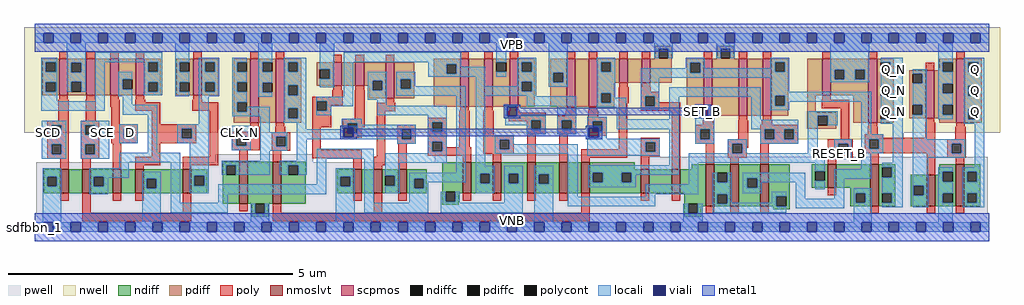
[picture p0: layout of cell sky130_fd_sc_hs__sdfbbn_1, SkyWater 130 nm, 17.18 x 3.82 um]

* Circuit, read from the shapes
.subckt sky130_fd_sc_hs__sdfbbn_1 CLK_N D RESET_B SCD SCE SET_B VGND VNB VPB VPWR Q Q_N
XM1 n1 SCD VGND VNB sky130_fd_pr__nfet_01v8_lvt w=0.42 l=0.15
XM2 n2 SCE n1 VNB sky130_fd_pr__nfet_01v8_lvt w=0.42 l=0.15
XM3 n3 D n2 VNB sky130_fd_pr__nfet_01v8_lvt w=0.42 l=0.15
XM4 VGND n4 n3 VNB sky130_fd_pr__nfet_01v8_lvt w=0.42 l=0.15
XM5 n4 SCE VGND VNB sky130_fd_pr__nfet_01v8_lvt w=0.42 l=0.15
XM6 VGND CLK_N n5 VNB sky130_fd_pr__nfet_01v8_lvt w=0.74 l=0.15
XM7 n6 n5 VGND VNB sky130_fd_pr__nfet_01v8_lvt w=0.74 l=0.15
XM8 n7 n8 VGND VNB sky130_fd_pr__nfet_01v8_lvt w=0.42 l=0.15
XM9 n9 n5 n7 VNB sky130_fd_pr__nfet_01v8_lvt w=0.42 l=0.15
XM10 n2 n6 n9 VNB sky130_fd_pr__nfet_01v8_lvt w=0.42 l=0.15
XM11 n8 n9 n10 VNB sky130_fd_pr__nfet_01v8_lvt w=0.55 l=0.15
XM12 n10 n11 n8 VNB sky130_fd_pr__nfet_01v8_lvt w=0.55 l=0.15
XM13 VGND SET_B n10 VNB sky130_fd_pr__nfet_01v8_lvt w=0.55 l=0.15
XM14 n12 n8 VGND VNB sky130_fd_pr__nfet_01v8_lvt w=0.55 l=0.15
XM15 n13 n5 n12 VNB sky130_fd_pr__nfet_01v8_lvt w=0.55 l=0.15
XM16 n14 n6 n13 VNB sky130_fd_pr__nfet_01v8_lvt w=0.42 l=0.15
XM17 VGND n15 n14 VNB sky130_fd_pr__nfet_01v8_lvt w=0.42 l=0.15
XM18 n16 SET_B VGND VNB sky130_fd_pr__nfet_01v8_lvt w=0.74 l=0.15
XM19 n15 n11 n16 VNB sky130_fd_pr__nfet_01v8_lvt w=0.74 l=0.15
XM20 n16 n13 n15 VNB sky130_fd_pr__nfet_01v8_lvt w=0.74 l=0.15
XM21 VGND RESET_B n11 VNB sky130_fd_pr__nfet_01v8_lvt w=0.42 l=0.15
XM22 Q_N n15 VGND VNB sky130_fd_pr__nfet_01v8_lvt w=0.74 l=0.15
XM23 VGND n15 n17 VNB sky130_fd_pr__nfet_01v8_lvt w=0.55 l=0.15
XM24 Q n17 VGND VNB sky130_fd_pr__nfet_01v8_lvt w=0.74 l=0.15
XM25 VPWR SCD n18 VPB sky130_fd_pr__pfet_01v8 w=0.64 l=0.15
XM26 n19 SCE VPWR VPB sky130_fd_pr__pfet_01v8 w=0.64 l=0.15
XM27 n2 D n19 VPB sky130_fd_pr__pfet_01v8 w=0.64 l=0.15
XM28 n18 n4 n2 VPB sky130_fd_pr__pfet_01v8 w=0.64 l=0.15
XM29 n4 SCE VPWR VPB sky130_fd_pr__pfet_01v8 w=0.64 l=0.15
XM30 VPWR CLK_N n5 VPB sky130_fd_pr__pfet_01v8 w=1.12 l=0.15
XM31 n6 n5 VPWR VPB sky130_fd_pr__pfet_01v8 w=1.12 l=0.15
XM32 n20 n8 VPWR VPB sky130_fd_pr__pfet_01v8 w=0.42 l=0.15
XM33 n9 n6 n20 VPB sky130_fd_pr__pfet_01v8 w=0.42 l=0.15
XM34 n2 n5 n9 VPB sky130_fd_pr__pfet_01v8 w=0.64 l=0.15
XM35 n21 n9 n8 VPB sky130_fd_pr__pfet_01v8 w=0.84 l=0.15
XM36 VPWR n11 n21 VPB sky130_fd_pr__pfet_01v8 w=0.84 l=0.15
XM37 n8 SET_B VPWR VPB sky130_fd_pr__pfet_01v8 w=0.84 l=0.15
XM38 n22 n8 VPWR VPB sky130_fd_pr__pfet_01v8 w=0.84 l=0.15
XM39 n13 n6 n22 VPB sky130_fd_pr__pfet_01v8 w=0.84 l=0.15
XM40 n23 n5 n13 VPB sky130_fd_pr__pfet_01v8 w=0.42 l=0.15
XM41 VPWR n15 n23 VPB sky130_fd_pr__pfet_01v8 w=0.42 l=0.15
XM42 VPWR SET_B n15 VPB sky130_fd_pr__pfet_01v8 w=1 l=0.15
XM43 n24 n11 VPWR VPB sky130_fd_pr__pfet_01v8 w=1 l=0.15
XM44 n15 n13 n24 VPB sky130_fd_pr__pfet_01v8 w=1 l=0.15
XM45 VPWR RESET_B n11 VPB sky130_fd_pr__pfet_01v8 w=0.64 l=0.15
XM46 Q_N n15 VPWR VPB sky130_fd_pr__pfet_01v8 w=1.12 l=0.15
XM47 VPWR n15 n17 VPB sky130_fd_pr__pfet_01v8 w=0.84 l=0.15
XM48 Q n17 VPWR VPB sky130_fd_pr__pfet_01v8 w=1.12 l=0.15
.ends

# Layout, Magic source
magic
tech sky130A
magscale 1 2
<< nwell >>
rect -38 332 3398 704
rect 2684 310 3060 332
<< pwell >>
rect 636 229 980 256
rect 1408 248 2138 255
rect 1408 229 3355 248
rect 6 49 3355 229
rect 0 0 3360 49
<< scpmos >>
rect 86 464 116 592
rect 182 464 212 592
rect 266 464 296 592
rect 356 464 386 592
rect 557 464 587 592
rect 759 368 789 592
rect 849 368 879 592
rect 1051 497 1081 581
rect 1129 497 1159 581
rect 1236 453 1266 581
rect 1498 424 1528 592
rect 1582 424 1612 592
rect 1672 424 1702 592
rect 1873 424 1903 592
rect 1951 424 1981 592
rect 2058 508 2088 592
rect 2136 508 2166 592
rect 2355 392 2385 592
rect 2479 392 2509 592
rect 2563 392 2593 592
rect 2773 464 2803 592
rect 2935 368 2965 592
rect 3137 384 3167 552
rect 3244 368 3274 592
<< nmoslvt >>
rect 89 119 119 203
rect 167 119 197 203
rect 275 119 305 203
rect 353 119 383 203
rect 521 119 551 203
rect 719 82 749 230
rect 837 82 867 230
rect 1121 119 1151 203
rect 1193 119 1223 203
rect 1279 119 1309 203
rect 1507 119 1537 229
rect 1613 119 1643 229
rect 1734 119 1764 229
rect 1846 119 1876 229
rect 1924 119 1954 229
rect 2134 119 2164 203
rect 2242 119 2272 203
rect 2362 74 2392 222
rect 2448 74 2478 222
rect 2554 74 2584 222
rect 2792 138 2822 222
rect 2942 74 2972 222
rect 3140 74 3170 184
rect 3242 74 3272 222
<< ndiff >>
rect 662 218 719 230
rect 32 178 89 203
rect 32 144 44 178
rect 78 144 89 178
rect 32 119 89 144
rect 119 119 167 203
rect 197 178 275 203
rect 197 144 208 178
rect 242 144 275 178
rect 197 119 275 144
rect 305 119 353 203
rect 383 171 521 203
rect 383 137 394 171
rect 428 137 521 171
rect 383 119 521 137
rect 551 180 608 203
rect 551 146 562 180
rect 596 146 608 180
rect 551 119 608 146
rect 662 184 674 218
rect 708 184 719 218
rect 662 82 719 184
rect 749 82 837 230
rect 867 218 954 230
rect 867 184 893 218
rect 927 184 954 218
rect 867 82 954 184
rect 1064 178 1121 203
rect 1064 144 1076 178
rect 1110 144 1121 178
rect 1064 119 1121 144
rect 1151 119 1193 203
rect 1223 180 1279 203
rect 1223 146 1234 180
rect 1268 146 1279 180
rect 1223 119 1279 146
rect 1309 170 1380 203
rect 1309 136 1335 170
rect 1369 136 1380 170
rect 1309 119 1380 136
rect 1434 124 1507 229
rect 764 48 776 82
rect 810 48 822 82
rect 764 36 822 48
rect 1434 90 1446 124
rect 1480 119 1507 124
rect 1537 188 1613 229
rect 1537 154 1568 188
rect 1602 154 1613 188
rect 1537 119 1613 154
rect 1643 188 1734 229
rect 1643 154 1668 188
rect 1702 154 1734 188
rect 1643 119 1734 154
rect 1764 186 1846 229
rect 1764 152 1775 186
rect 1809 152 1846 186
rect 1764 119 1846 152
rect 1876 119 1924 229
rect 1954 203 2112 229
rect 2312 203 2362 222
rect 1954 191 2134 203
rect 1954 157 1965 191
rect 1999 157 2066 191
rect 2100 157 2134 191
rect 1954 119 2134 157
rect 2164 119 2242 203
rect 2272 119 2362 203
rect 1480 90 1492 119
rect 1434 78 1492 90
rect 2287 82 2362 119
rect 2287 48 2300 82
rect 2334 74 2362 82
rect 2392 192 2448 222
rect 2392 158 2403 192
rect 2437 158 2448 192
rect 2392 116 2448 158
rect 2392 82 2403 116
rect 2437 82 2448 116
rect 2392 74 2448 82
rect 2478 172 2554 222
rect 2478 138 2509 172
rect 2543 138 2554 172
rect 2478 74 2554 138
rect 2584 108 2657 222
rect 2735 197 2792 222
rect 2735 163 2747 197
rect 2781 163 2792 197
rect 2735 138 2792 163
rect 2822 138 2942 222
rect 2871 120 2942 138
rect 2584 74 2611 108
rect 2645 74 2657 108
rect 2871 86 2890 120
rect 2924 86 2942 120
rect 2871 74 2942 86
rect 2972 210 3029 222
rect 2972 176 2983 210
rect 3017 176 3029 210
rect 3185 194 3242 222
rect 3185 184 3197 194
rect 2972 120 3029 176
rect 2972 86 2983 120
rect 3017 86 3029 120
rect 2972 74 3029 86
rect 3083 146 3140 184
rect 3083 112 3095 146
rect 3129 112 3140 146
rect 3083 74 3140 112
rect 3170 160 3197 184
rect 3231 160 3242 194
rect 3170 120 3242 160
rect 3170 86 3197 120
rect 3231 86 3242 120
rect 3170 74 3242 86
rect 3272 194 3329 222
rect 3272 160 3283 194
rect 3317 160 3329 194
rect 3272 120 3329 160
rect 3272 86 3283 120
rect 3317 86 3329 120
rect 3272 74 3329 86
rect 2334 48 2347 74
rect 2599 62 2657 74
rect 2287 36 2347 48
<< pdiff >>
rect 2184 628 2242 639
rect 27 580 86 592
rect 27 546 39 580
rect 73 546 86 580
rect 27 510 86 546
rect 27 476 39 510
rect 73 476 86 510
rect 27 464 86 476
rect 116 579 182 592
rect 116 545 129 579
rect 163 545 182 579
rect 116 511 182 545
rect 116 477 129 511
rect 163 477 182 511
rect 116 464 182 477
rect 212 464 266 592
rect 296 520 356 592
rect 296 486 309 520
rect 343 486 356 520
rect 296 464 356 486
rect 386 580 444 592
rect 386 546 399 580
rect 433 546 444 580
rect 386 510 444 546
rect 386 476 399 510
rect 433 476 444 510
rect 386 464 444 476
rect 498 580 557 592
rect 498 546 510 580
rect 544 546 557 580
rect 498 510 557 546
rect 498 476 510 510
rect 544 476 557 510
rect 498 464 557 476
rect 587 580 646 592
rect 587 546 600 580
rect 634 546 646 580
rect 587 510 646 546
rect 587 476 600 510
rect 634 476 646 510
rect 587 464 646 476
rect 700 580 759 592
rect 700 546 712 580
rect 746 546 759 580
rect 700 510 759 546
rect 700 476 712 510
rect 746 476 759 510
rect 700 440 759 476
rect 700 406 712 440
rect 746 406 759 440
rect 700 368 759 406
rect 789 580 849 592
rect 789 546 802 580
rect 836 546 849 580
rect 789 508 849 546
rect 789 474 802 508
rect 836 474 849 508
rect 789 368 849 474
rect 879 580 938 592
rect 2184 594 2196 628
rect 2230 594 2242 628
rect 2403 628 2461 639
rect 2184 592 2242 594
rect 2403 594 2415 628
rect 2449 594 2461 628
rect 2403 592 2461 594
rect 879 546 892 580
rect 926 546 938 580
rect 879 499 938 546
rect 879 465 892 499
rect 926 465 938 499
rect 992 556 1051 581
rect 992 522 1004 556
rect 1038 522 1051 556
rect 992 497 1051 522
rect 1081 497 1129 581
rect 1159 515 1236 581
rect 1159 497 1189 515
rect 879 418 938 465
rect 879 384 892 418
rect 926 384 938 418
rect 879 368 938 384
rect 1177 481 1189 497
rect 1223 481 1236 515
rect 1177 453 1236 481
rect 1266 521 1335 581
rect 1266 487 1289 521
rect 1323 487 1335 521
rect 1266 453 1335 487
rect 1405 573 1498 592
rect 1405 539 1450 573
rect 1484 539 1498 573
rect 1405 424 1498 539
rect 1528 424 1582 592
rect 1612 580 1672 592
rect 1612 546 1625 580
rect 1659 546 1672 580
rect 1612 424 1672 546
rect 1702 580 1760 592
rect 1702 546 1715 580
rect 1749 546 1760 580
rect 1702 512 1760 546
rect 1702 478 1715 512
rect 1749 478 1760 512
rect 1702 424 1760 478
rect 1814 544 1873 592
rect 1814 510 1826 544
rect 1860 510 1873 544
rect 1814 424 1873 510
rect 1903 424 1951 592
rect 1981 580 2058 592
rect 1981 546 1994 580
rect 2028 546 2058 580
rect 1981 508 2058 546
rect 2088 508 2136 592
rect 2166 508 2242 592
rect 2296 578 2355 592
rect 2296 544 2308 578
rect 2342 544 2355 578
rect 1981 472 2040 508
rect 1981 438 1994 472
rect 2028 438 2040 472
rect 1981 424 2040 438
rect 2296 392 2355 544
rect 2385 392 2479 592
rect 2509 392 2563 592
rect 2593 580 2652 592
rect 2593 546 2606 580
rect 2640 546 2652 580
rect 2593 462 2652 546
rect 2593 428 2606 462
rect 2640 428 2652 462
rect 2593 392 2652 428
rect 2720 464 2773 592
rect 2803 554 2935 592
rect 2803 520 2816 554
rect 2850 520 2888 554
rect 2922 520 2935 554
rect 2803 464 2935 520
rect 2720 404 2750 464
rect 2720 392 2822 404
rect 2720 358 2757 392
rect 2791 358 2822 392
rect 2720 346 2822 358
rect 2882 368 2935 464
rect 2965 580 3024 592
rect 2965 546 2978 580
rect 3012 546 3024 580
rect 3185 580 3244 592
rect 3185 552 3197 580
rect 2965 497 3024 546
rect 2965 463 2978 497
rect 3012 463 3024 497
rect 2965 414 3024 463
rect 2965 380 2978 414
rect 3012 380 3024 414
rect 3078 540 3137 552
rect 3078 506 3090 540
rect 3124 506 3137 540
rect 3078 430 3137 506
rect 3078 396 3090 430
rect 3124 396 3137 430
rect 3078 384 3137 396
rect 3167 546 3197 552
rect 3231 546 3244 580
rect 3167 505 3244 546
rect 3167 471 3197 505
rect 3231 471 3244 505
rect 3167 430 3244 471
rect 3167 396 3197 430
rect 3231 396 3244 430
rect 3167 384 3244 396
rect 2965 368 3024 380
rect 3185 368 3244 384
rect 3274 580 3333 592
rect 3274 546 3287 580
rect 3321 546 3333 580
rect 3274 497 3333 546
rect 3274 463 3287 497
rect 3321 463 3333 497
rect 3274 414 3333 463
rect 3274 380 3287 414
rect 3321 380 3333 414
rect 3274 368 3333 380
<< ndiffc >>
rect 44 144 78 178
rect 208 144 242 178
rect 394 137 428 171
rect 562 146 596 180
rect 674 184 708 218
rect 893 184 927 218
rect 1076 144 1110 178
rect 1234 146 1268 180
rect 1335 136 1369 170
rect 776 48 810 82
rect 1446 90 1480 124
rect 1568 154 1602 188
rect 1668 154 1702 188
rect 1775 152 1809 186
rect 1965 157 1999 191
rect 2066 157 2100 191
rect 2300 48 2334 82
rect 2403 158 2437 192
rect 2403 82 2437 116
rect 2509 138 2543 172
rect 2747 163 2781 197
rect 2611 74 2645 108
rect 2890 86 2924 120
rect 2983 176 3017 210
rect 2983 86 3017 120
rect 3095 112 3129 146
rect 3197 160 3231 194
rect 3197 86 3231 120
rect 3283 160 3317 194
rect 3283 86 3317 120
<< pdiffc >>
rect 39 546 73 580
rect 39 476 73 510
rect 129 545 163 579
rect 129 477 163 511
rect 309 486 343 520
rect 399 546 433 580
rect 399 476 433 510
rect 510 546 544 580
rect 510 476 544 510
rect 600 546 634 580
rect 600 476 634 510
rect 712 546 746 580
rect 712 476 746 510
rect 712 406 746 440
rect 802 546 836 580
rect 802 474 836 508
rect 2196 594 2230 628
rect 2415 594 2449 628
rect 892 546 926 580
rect 892 465 926 499
rect 1004 522 1038 556
rect 892 384 926 418
rect 1189 481 1223 515
rect 1289 487 1323 521
rect 1450 539 1484 573
rect 1625 546 1659 580
rect 1715 546 1749 580
rect 1715 478 1749 512
rect 1826 510 1860 544
rect 1994 546 2028 580
rect 2308 544 2342 578
rect 1994 438 2028 472
rect 2606 546 2640 580
rect 2606 428 2640 462
rect 2816 520 2850 554
rect 2888 520 2922 554
rect 2757 358 2791 392
rect 2978 546 3012 580
rect 2978 463 3012 497
rect 2978 380 3012 414
rect 3090 506 3124 540
rect 3090 396 3124 430
rect 3197 546 3231 580
rect 3197 471 3231 505
rect 3197 396 3231 430
rect 3287 546 3321 580
rect 3287 463 3321 497
rect 3287 380 3321 414
<< poly >>
rect 86 592 116 618
rect 182 592 212 618
rect 266 592 296 618
rect 356 592 386 618
rect 557 592 587 618
rect 759 592 789 618
rect 849 592 879 618
rect 86 449 116 464
rect 182 449 212 464
rect 266 449 296 464
rect 356 449 386 464
rect 557 449 587 464
rect 83 375 119 449
rect 179 375 215 449
rect 266 423 299 449
rect 44 359 119 375
rect 44 325 60 359
rect 94 325 119 359
rect 44 291 119 325
rect 44 257 60 291
rect 94 257 119 291
rect 44 241 119 257
rect 161 359 227 375
rect 161 325 177 359
rect 211 325 227 359
rect 161 291 227 325
rect 269 362 299 423
rect 353 440 389 449
rect 554 440 590 449
rect 353 410 441 440
rect 554 410 646 440
rect 411 362 441 410
rect 269 346 363 362
rect 269 312 313 346
rect 347 312 363 346
rect 269 296 363 312
rect 411 346 568 362
rect 411 312 518 346
rect 552 312 568 346
rect 411 296 568 312
rect 161 257 177 291
rect 211 257 227 291
rect 161 241 227 257
rect 89 203 119 241
rect 167 203 197 241
rect 275 203 305 296
rect 411 248 441 296
rect 616 248 646 410
rect 1051 581 1081 607
rect 1129 581 1159 607
rect 1236 581 1266 607
rect 1498 592 1528 618
rect 1582 592 1612 618
rect 1672 592 1702 618
rect 1873 592 1903 618
rect 1951 592 1981 618
rect 2058 592 2088 618
rect 2136 592 2166 618
rect 2355 592 2385 618
rect 2479 592 2509 618
rect 2563 592 2593 618
rect 2773 592 2803 618
rect 2935 592 2965 618
rect 3244 592 3274 618
rect 1051 482 1081 497
rect 1129 482 1159 497
rect 1048 459 1084 482
rect 977 443 1084 459
rect 977 409 993 443
rect 1027 429 1084 443
rect 1027 409 1043 429
rect 759 353 789 368
rect 849 353 879 368
rect 756 336 792 353
rect 694 320 792 336
rect 846 334 882 353
rect 977 351 1043 409
rect 1126 381 1162 482
rect 1236 438 1266 453
rect 1085 365 1162 381
rect 694 286 710 320
rect 744 286 792 320
rect 694 270 792 286
rect 834 318 900 334
rect 834 284 850 318
rect 884 284 900 318
rect 353 218 441 248
rect 521 218 646 248
rect 719 230 749 270
rect 834 268 900 284
rect 977 273 1007 351
rect 1085 331 1101 365
rect 1135 351 1162 365
rect 1204 408 1269 438
rect 2058 493 2088 508
rect 2136 493 2166 508
rect 2055 436 2091 493
rect 2133 476 2169 493
rect 2133 460 2199 476
rect 1498 409 1528 424
rect 1582 409 1612 424
rect 1672 409 1702 424
rect 1873 409 1903 424
rect 1951 409 1981 424
rect 1135 331 1151 351
rect 1085 315 1151 331
rect 837 230 867 268
rect 977 243 1151 273
rect 1204 248 1234 408
rect 1384 369 1450 385
rect 1276 344 1342 360
rect 1276 310 1292 344
rect 1326 310 1342 344
rect 1276 294 1342 310
rect 1384 335 1400 369
rect 1434 335 1450 369
rect 1384 301 1450 335
rect 353 203 383 218
rect 521 203 551 218
rect 89 93 119 119
rect 167 51 197 119
rect 275 93 305 119
rect 353 93 383 119
rect 521 51 551 119
rect 1121 203 1151 243
rect 1193 218 1234 248
rect 1193 203 1223 218
rect 1279 203 1309 294
rect 1384 267 1400 301
rect 1434 281 1450 301
rect 1495 281 1531 409
rect 1579 324 1615 409
rect 1669 402 1705 409
rect 1669 376 1798 402
rect 1870 392 1906 409
rect 1669 372 1748 376
rect 1732 342 1748 372
rect 1782 342 1798 376
rect 1732 326 1798 342
rect 1840 376 1906 392
rect 1840 342 1856 376
rect 1890 342 1906 376
rect 1840 326 1906 342
rect 1948 388 1984 409
rect 1948 372 2014 388
rect 1948 338 1964 372
rect 1998 338 2014 372
rect 1579 308 1686 324
rect 1434 267 1537 281
rect 1384 251 1537 267
rect 1579 274 1636 308
rect 1670 274 1686 308
rect 1579 258 1686 274
rect 1507 229 1537 251
rect 1613 229 1643 258
rect 1734 229 1764 326
rect 1846 229 1876 326
rect 1948 322 2014 338
rect 2056 274 2086 436
rect 2133 426 2149 460
rect 2183 440 2199 460
rect 2183 426 2272 440
rect 2133 410 2272 426
rect 1924 244 2086 274
rect 2134 299 2200 315
rect 2134 265 2150 299
rect 2184 265 2200 299
rect 2134 249 2200 265
rect 1924 229 1954 244
rect 1121 93 1151 119
rect 719 56 749 82
rect 167 21 551 51
rect 837 51 867 82
rect 1193 51 1223 119
rect 1279 93 1309 119
rect 2134 203 2164 249
rect 2242 203 2272 410
rect 2773 449 2803 464
rect 2770 419 2867 449
rect 2355 377 2385 392
rect 2479 377 2509 392
rect 2563 377 2593 392
rect 2352 360 2388 377
rect 2326 344 2392 360
rect 2326 310 2342 344
rect 2376 310 2392 344
rect 2476 310 2512 377
rect 2560 360 2596 377
rect 2326 294 2392 310
rect 2362 222 2392 294
rect 2440 294 2512 310
rect 2440 260 2456 294
rect 2490 280 2512 294
rect 2554 344 2688 360
rect 2554 310 2570 344
rect 2604 310 2638 344
rect 2672 310 2688 344
rect 2837 310 2867 419
rect 3137 552 3167 578
rect 3137 369 3167 384
rect 2935 353 2965 368
rect 2932 326 2968 353
rect 2921 314 2987 326
rect 3134 314 3170 369
rect 3244 353 3274 368
rect 2921 310 3170 314
rect 3241 310 3277 353
rect 2554 294 2688 310
rect 2792 294 2879 310
rect 2490 260 2506 280
rect 2440 244 2506 260
rect 2448 222 2478 244
rect 2554 222 2584 294
rect 2792 260 2829 294
rect 2863 260 2879 294
rect 2921 276 2937 310
rect 2971 276 3170 310
rect 2921 260 3170 276
rect 2792 244 2879 260
rect 2792 222 2822 244
rect 2942 222 2972 260
rect 1507 93 1537 119
rect 1613 93 1643 119
rect 1734 93 1764 119
rect 1846 93 1876 119
rect 1924 51 1954 119
rect 2134 93 2164 119
rect 2242 93 2272 119
rect 837 21 1954 51
rect 2792 112 2822 138
rect 3140 184 3170 260
rect 3212 294 3278 310
rect 3212 260 3228 294
rect 3262 260 3278 294
rect 3212 244 3278 260
rect 3242 222 3272 244
rect 2362 48 2392 74
rect 2448 48 2478 74
rect 2554 48 2584 74
rect 2942 48 2972 74
rect 3140 48 3170 74
rect 3242 48 3272 74
<< polycont >>
rect 60 325 94 359
rect 60 257 94 291
rect 177 325 211 359
rect 313 312 347 346
rect 518 312 552 346
rect 177 257 211 291
rect 993 409 1027 443
rect 710 286 744 320
rect 850 284 884 318
rect 1101 331 1135 365
rect 1292 310 1326 344
rect 1400 335 1434 369
rect 1400 267 1434 301
rect 1748 342 1782 376
rect 1856 342 1890 376
rect 1964 338 1998 372
rect 1636 274 1670 308
rect 2149 426 2183 460
rect 2150 265 2184 299
rect 2342 310 2376 344
rect 2456 260 2490 294
rect 2570 310 2604 344
rect 2638 310 2672 344
rect 2829 260 2863 294
rect 2937 276 2971 310
rect 3228 260 3262 294
<< locali >>
rect 0 649 31 683
rect 65 649 127 683
rect 161 649 223 683
rect 257 649 319 683
rect 353 649 415 683
rect 449 649 511 683
rect 545 649 607 683
rect 641 649 703 683
rect 737 649 799 683
rect 833 649 895 683
rect 929 649 991 683
rect 1025 649 1087 683
rect 1121 649 1183 683
rect 1217 649 1279 683
rect 1313 649 1375 683
rect 1409 649 1471 683
rect 1505 649 1567 683
rect 1601 649 1663 683
rect 1697 649 1759 683
rect 1793 649 1855 683
rect 1889 649 1951 683
rect 1985 649 2047 683
rect 2081 649 2143 683
rect 2177 649 2239 683
rect 2273 649 2335 683
rect 2369 649 2431 683
rect 2465 649 2527 683
rect 2561 649 2623 683
rect 2657 649 2719 683
rect 2753 649 2815 683
rect 2849 649 2911 683
rect 2945 649 3007 683
rect 3041 649 3103 683
rect 3137 649 3199 683
rect 3233 649 3295 683
rect 3329 649 3360 683
rect 23 580 79 596
rect 23 546 39 580
rect 73 546 79 580
rect 23 510 79 546
rect 23 476 39 510
rect 73 476 79 510
rect 113 579 179 649
rect 113 545 129 579
rect 163 545 179 579
rect 113 511 179 545
rect 113 477 129 511
rect 163 477 179 511
rect 213 581 449 615
rect 23 443 79 476
rect 213 443 247 581
rect 383 580 449 581
rect 293 520 343 547
rect 293 486 309 520
rect 293 460 343 486
rect 383 546 399 580
rect 433 546 449 580
rect 383 510 449 546
rect 383 476 399 510
rect 433 476 449 510
rect 383 464 449 476
rect 494 580 544 649
rect 494 546 510 580
rect 494 510 544 546
rect 494 476 510 510
rect 494 460 544 476
rect 578 580 650 596
rect 578 546 600 580
rect 634 546 650 580
rect 578 510 650 546
rect 578 476 600 510
rect 634 476 650 510
rect 578 460 650 476
rect 696 580 746 596
rect 696 546 712 580
rect 696 510 746 546
rect 696 476 712 510
rect 23 409 247 443
rect 309 430 343 460
rect 309 396 431 430
rect 25 359 110 375
rect 25 325 60 359
rect 94 325 110 359
rect 25 291 110 325
rect 25 257 60 291
rect 94 257 110 291
rect 25 241 110 257
rect 161 359 263 375
rect 161 325 177 359
rect 211 325 263 359
rect 161 291 263 325
rect 297 346 363 362
rect 297 312 313 346
rect 347 312 363 346
rect 297 296 363 312
rect 161 257 177 291
rect 211 257 263 291
rect 397 262 431 396
rect 578 362 612 460
rect 696 440 746 476
rect 786 580 836 649
rect 786 546 802 580
rect 786 508 836 546
rect 786 474 802 508
rect 786 458 836 474
rect 876 580 956 596
rect 876 546 892 580
rect 926 546 956 580
rect 876 499 956 546
rect 876 465 892 499
rect 926 465 956 499
rect 1004 556 1054 649
rect 1038 522 1054 556
rect 1004 493 1054 522
rect 1088 581 1501 615
rect 696 406 712 440
rect 746 406 828 424
rect 696 390 828 406
rect 502 346 612 362
rect 502 312 518 346
rect 552 312 612 346
rect 502 296 612 312
rect 161 241 263 257
rect 297 228 512 262
rect 297 207 331 228
rect 28 178 94 207
rect 28 144 44 178
rect 78 144 94 178
rect 28 17 94 144
rect 192 178 331 207
rect 192 144 208 178
rect 242 173 331 178
rect 242 144 258 173
rect 192 115 258 144
rect 378 171 444 194
rect 378 137 394 171
rect 428 137 444 171
rect 378 17 444 137
rect 478 85 512 228
rect 546 180 612 296
rect 694 320 760 356
rect 694 286 710 320
rect 744 286 760 320
rect 694 270 760 286
rect 794 334 828 390
rect 876 418 956 465
rect 1088 459 1122 581
rect 1385 573 1501 581
rect 876 384 892 418
rect 926 384 956 418
rect 990 443 1122 459
rect 1173 515 1239 547
rect 1173 481 1189 515
rect 1223 481 1239 515
rect 1173 449 1239 481
rect 1273 521 1339 547
rect 1385 539 1450 573
rect 1484 564 1501 573
rect 1625 580 1659 649
rect 1484 539 1586 564
rect 1385 530 1586 539
rect 1625 530 1659 546
rect 1699 580 1766 596
rect 1699 546 1715 580
rect 1749 546 1766 580
rect 1273 487 1289 521
rect 1323 496 1339 521
rect 1552 496 1586 530
rect 1699 512 1766 546
rect 1699 496 1715 512
rect 1323 487 1518 496
rect 1273 462 1518 487
rect 990 409 993 443
rect 1027 425 1122 443
rect 1205 428 1239 449
rect 1027 409 1043 425
rect 990 393 1043 409
rect 1205 394 1450 428
rect 876 368 956 384
rect 922 344 956 368
rect 1081 365 1151 381
rect 1081 350 1101 365
rect 1135 360 1151 365
rect 1384 369 1450 394
rect 1081 344 1087 350
rect 794 318 888 334
rect 794 284 850 318
rect 884 284 888 318
rect 794 268 888 284
rect 922 316 1087 344
rect 1135 344 1342 360
rect 1135 331 1292 344
rect 1121 316 1292 331
rect 922 310 1292 316
rect 1326 310 1342 344
rect 794 234 828 268
rect 922 234 958 310
rect 1276 294 1342 310
rect 1384 335 1400 369
rect 1434 335 1450 369
rect 1384 301 1450 335
rect 658 218 828 234
rect 658 184 674 218
rect 708 184 828 218
rect 862 218 958 234
rect 862 184 893 218
rect 927 184 958 218
rect 992 241 1194 275
rect 1384 267 1400 301
rect 1434 267 1450 301
rect 1384 260 1450 267
rect 546 146 562 180
rect 596 146 612 180
rect 992 150 1026 241
rect 546 119 612 146
rect 646 116 1026 150
rect 1060 178 1126 207
rect 1060 144 1076 178
rect 1110 144 1126 178
rect 646 85 680 116
rect 478 51 680 85
rect 760 48 776 82
rect 810 48 826 82
rect 760 17 826 48
rect 1060 17 1126 144
rect 1160 85 1194 241
rect 1234 226 1450 260
rect 1234 180 1284 226
rect 1484 192 1518 462
rect 1268 146 1284 180
rect 1234 119 1284 146
rect 1319 170 1518 192
rect 1319 136 1335 170
rect 1369 158 1518 170
rect 1552 478 1715 496
rect 1749 478 1766 512
rect 1810 544 1876 649
rect 2180 628 2246 649
rect 1810 510 1826 544
rect 1860 510 1876 544
rect 1810 494 1876 510
rect 1978 580 2044 596
rect 2180 594 2196 628
rect 2230 594 2246 628
rect 2399 628 2465 649
rect 1978 546 1994 580
rect 2028 546 2044 580
rect 2292 578 2358 596
rect 2399 594 2415 628
rect 2449 594 2465 628
rect 2292 560 2308 578
rect 1552 462 1766 478
rect 1552 216 1586 462
rect 1732 460 1766 462
rect 1978 472 2044 546
rect 1657 424 1698 428
rect 1732 426 1906 460
rect 1657 390 1663 424
rect 1697 392 1698 424
rect 1697 390 1798 392
rect 1657 376 1798 390
rect 1657 358 1748 376
rect 1732 342 1748 358
rect 1782 342 1798 376
rect 1732 326 1798 342
rect 1840 376 1906 426
rect 1978 438 1994 472
rect 2028 456 2044 472
rect 2133 544 2308 560
rect 2342 560 2358 578
rect 2590 580 2656 596
rect 2590 560 2606 580
rect 2342 546 2606 560
rect 2640 546 2656 580
rect 2342 544 2656 546
rect 2133 526 2656 544
rect 2133 460 2199 526
rect 2028 438 2082 456
rect 1978 422 2082 438
rect 1840 342 1856 376
rect 1890 342 1906 376
rect 1840 326 1906 342
rect 1945 372 2014 388
rect 1945 350 1964 372
rect 1620 308 1686 324
rect 1620 274 1636 308
rect 1670 292 1686 308
rect 1945 316 1951 350
rect 1998 338 2014 372
rect 2048 379 2082 422
rect 2133 426 2149 460
rect 2183 426 2199 460
rect 2133 413 2199 426
rect 2234 458 2556 492
rect 2234 379 2268 458
rect 2048 345 2268 379
rect 1985 316 2014 338
rect 1945 311 2014 316
rect 1945 299 2200 311
rect 1670 274 1911 292
rect 1620 258 1911 274
rect 1552 188 1618 216
rect 1369 136 1385 158
rect 1319 85 1385 136
rect 1552 154 1568 188
rect 1602 154 1618 188
rect 1160 51 1385 85
rect 1430 90 1446 124
rect 1480 90 1496 124
rect 1552 119 1618 154
rect 1652 188 1718 216
rect 1652 154 1668 188
rect 1702 154 1718 188
rect 1430 85 1496 90
rect 1652 85 1718 154
rect 1430 51 1718 85
rect 1759 186 1825 216
rect 1759 152 1775 186
rect 1809 152 1825 186
rect 1759 17 1825 152
rect 1877 107 1911 258
rect 1945 265 2150 299
rect 2184 265 2200 299
rect 1945 252 2200 265
rect 2234 218 2268 345
rect 2326 390 2335 424
rect 2369 390 2392 424
rect 2326 344 2392 390
rect 2522 378 2556 458
rect 2590 476 2656 526
rect 2800 554 2938 649
rect 2800 520 2816 554
rect 2850 520 2888 554
rect 2922 520 2938 554
rect 2800 510 2938 520
rect 2978 580 3055 596
rect 3012 546 3055 580
rect 3181 580 3231 649
rect 2978 497 3055 546
rect 2590 462 2944 476
rect 2590 428 2606 462
rect 2640 442 2944 462
rect 2640 428 2656 442
rect 2590 412 2656 428
rect 2722 392 2826 408
rect 2522 344 2688 378
rect 2326 310 2342 344
rect 2376 310 2392 344
rect 2554 310 2570 344
rect 2604 310 2638 344
rect 2672 310 2688 344
rect 2326 294 2392 310
rect 2440 294 2506 310
rect 2554 294 2688 310
rect 2722 358 2757 392
rect 2791 358 2826 392
rect 2440 260 2456 294
rect 2490 260 2506 294
rect 2722 260 2756 358
rect 2910 326 2944 442
rect 3012 463 3055 497
rect 2978 414 3055 463
rect 3012 380 3055 414
rect 2978 364 3055 380
rect 2910 310 2987 326
rect 2815 294 2876 310
rect 2815 260 2829 294
rect 2863 260 2876 294
rect 1949 191 2268 218
rect 1949 157 1965 191
rect 1999 157 2066 191
rect 2100 184 2268 191
rect 2302 226 2781 260
rect 2815 238 2876 260
rect 2910 276 2937 310
rect 2971 276 2987 310
rect 2910 260 2987 276
rect 2100 157 2116 184
rect 1949 141 2116 157
rect 2302 150 2336 226
rect 2747 197 2781 226
rect 2910 204 2944 260
rect 3021 226 3055 364
rect 2150 116 2336 150
rect 2387 158 2403 192
rect 2437 158 2453 192
rect 2387 116 2453 158
rect 2493 172 2713 192
rect 2493 138 2509 172
rect 2543 158 2713 172
rect 2543 138 2559 158
rect 2493 119 2559 138
rect 2150 107 2184 116
rect 1877 73 2184 107
rect 2387 82 2403 116
rect 2437 85 2453 116
rect 2595 108 2645 124
rect 2595 85 2611 108
rect 2437 82 2611 85
rect 2283 48 2300 82
rect 2334 48 2351 82
rect 2387 74 2611 82
rect 2387 51 2645 74
rect 2679 100 2713 158
rect 2747 134 2781 163
rect 2815 170 2944 204
rect 2983 210 3055 226
rect 3017 176 3055 210
rect 2815 100 2849 170
rect 2679 66 2849 100
rect 2883 120 2947 136
rect 2883 86 2890 120
rect 2924 86 2947 120
rect 2283 17 2351 48
rect 2883 17 2947 86
rect 2983 120 3055 176
rect 3017 86 3055 120
rect 2983 70 3055 86
rect 3090 540 3140 556
rect 3124 506 3140 540
rect 3090 430 3140 506
rect 3124 396 3140 430
rect 3090 310 3140 396
rect 3181 546 3197 580
rect 3181 505 3231 546
rect 3181 471 3197 505
rect 3181 430 3231 471
rect 3181 396 3197 430
rect 3181 380 3231 396
rect 3271 580 3343 596
rect 3271 546 3287 580
rect 3321 546 3343 580
rect 3271 497 3343 546
rect 3271 463 3287 497
rect 3321 463 3343 497
rect 3271 414 3343 463
rect 3271 380 3287 414
rect 3321 380 3343 414
rect 3271 364 3343 380
rect 3090 294 3275 310
rect 3090 260 3228 294
rect 3262 260 3275 294
rect 3090 244 3275 260
rect 3090 146 3145 244
rect 3309 210 3343 364
rect 3090 112 3095 146
rect 3129 112 3145 146
rect 3090 70 3145 112
rect 3181 194 3231 210
rect 3181 160 3197 194
rect 3181 120 3231 160
rect 3181 86 3197 120
rect 3181 17 3231 86
rect 3267 194 3343 210
rect 3267 160 3283 194
rect 3317 160 3343 194
rect 3267 120 3343 160
rect 3267 86 3283 120
rect 3317 86 3343 120
rect 3267 70 3343 86
rect 0 -17 31 17
rect 65 -17 127 17
rect 161 -17 223 17
rect 257 -17 319 17
rect 353 -17 415 17
rect 449 -17 511 17
rect 545 -17 607 17
rect 641 -17 703 17
rect 737 -17 799 17
rect 833 -17 895 17
rect 929 -17 991 17
rect 1025 -17 1087 17
rect 1121 -17 1183 17
rect 1217 -17 1279 17
rect 1313 -17 1375 17
rect 1409 -17 1471 17
rect 1505 -17 1567 17
rect 1601 -17 1663 17
rect 1697 -17 1759 17
rect 1793 -17 1855 17
rect 1889 -17 1951 17
rect 1985 -17 2047 17
rect 2081 -17 2143 17
rect 2177 -17 2239 17
rect 2273 -17 2335 17
rect 2369 -17 2431 17
rect 2465 -17 2527 17
rect 2561 -17 2623 17
rect 2657 -17 2719 17
rect 2753 -17 2815 17
rect 2849 -17 2911 17
rect 2945 -17 3007 17
rect 3041 -17 3103 17
rect 3137 -17 3199 17
rect 3233 -17 3295 17
rect 3329 -17 3360 17
<< viali >>
rect 31 649 65 683
rect 127 649 161 683
rect 223 649 257 683
rect 319 649 353 683
rect 415 649 449 683
rect 511 649 545 683
rect 607 649 641 683
rect 703 649 737 683
rect 799 649 833 683
rect 895 649 929 683
rect 991 649 1025 683
rect 1087 649 1121 683
rect 1183 649 1217 683
rect 1279 649 1313 683
rect 1375 649 1409 683
rect 1471 649 1505 683
rect 1567 649 1601 683
rect 1663 649 1697 683
rect 1759 649 1793 683
rect 1855 649 1889 683
rect 1951 649 1985 683
rect 2047 649 2081 683
rect 2143 649 2177 683
rect 2239 649 2273 683
rect 2335 649 2369 683
rect 2431 649 2465 683
rect 2527 649 2561 683
rect 2623 649 2657 683
rect 2719 649 2753 683
rect 2815 649 2849 683
rect 2911 649 2945 683
rect 3007 649 3041 683
rect 3103 649 3137 683
rect 3199 649 3233 683
rect 3295 649 3329 683
rect 1087 331 1101 350
rect 1101 331 1121 350
rect 1087 316 1121 331
rect 1663 390 1697 424
rect 1951 338 1964 350
rect 1964 338 1985 350
rect 1951 316 1985 338
rect 2335 390 2369 424
rect 31 -17 65 17
rect 127 -17 161 17
rect 223 -17 257 17
rect 319 -17 353 17
rect 415 -17 449 17
rect 511 -17 545 17
rect 607 -17 641 17
rect 703 -17 737 17
rect 799 -17 833 17
rect 895 -17 929 17
rect 991 -17 1025 17
rect 1087 -17 1121 17
rect 1183 -17 1217 17
rect 1279 -17 1313 17
rect 1375 -17 1409 17
rect 1471 -17 1505 17
rect 1567 -17 1601 17
rect 1663 -17 1697 17
rect 1759 -17 1793 17
rect 1855 -17 1889 17
rect 1951 -17 1985 17
rect 2047 -17 2081 17
rect 2143 -17 2177 17
rect 2239 -17 2273 17
rect 2335 -17 2369 17
rect 2431 -17 2465 17
rect 2527 -17 2561 17
rect 2623 -17 2657 17
rect 2719 -17 2753 17
rect 2815 -17 2849 17
rect 2911 -17 2945 17
rect 3007 -17 3041 17
rect 3103 -17 3137 17
rect 3199 -17 3233 17
rect 3295 -17 3329 17
<< metal1 >>
rect 0 683 3360 715
rect 0 649 31 683
rect 65 649 127 683
rect 161 649 223 683
rect 257 649 319 683
rect 353 649 415 683
rect 449 649 511 683
rect 545 649 607 683
rect 641 649 703 683
rect 737 649 799 683
rect 833 649 895 683
rect 929 649 991 683
rect 1025 649 1087 683
rect 1121 649 1183 683
rect 1217 649 1279 683
rect 1313 649 1375 683
rect 1409 649 1471 683
rect 1505 649 1567 683
rect 1601 649 1663 683
rect 1697 649 1759 683
rect 1793 649 1855 683
rect 1889 649 1951 683
rect 1985 649 2047 683
rect 2081 649 2143 683
rect 2177 649 2239 683
rect 2273 649 2335 683
rect 2369 649 2431 683
rect 2465 649 2527 683
rect 2561 649 2623 683
rect 2657 649 2719 683
rect 2753 649 2815 683
rect 2849 649 2911 683
rect 2945 649 3007 683
rect 3041 649 3103 683
rect 3137 649 3199 683
rect 3233 649 3295 683
rect 3329 649 3360 683
rect 0 617 3360 649
rect 1651 424 1709 430
rect 1651 390 1663 424
rect 1697 421 1709 424
rect 2323 424 2381 430
rect 2323 421 2335 424
rect 1697 393 2335 421
rect 1697 390 1709 393
rect 1651 384 1709 390
rect 2323 390 2335 393
rect 2369 390 2381 424
rect 2323 384 2381 390
rect 1075 350 1133 356
rect 1075 316 1087 350
rect 1121 347 1133 350
rect 1939 350 1997 356
rect 1939 347 1951 350
rect 1121 319 1951 347
rect 1121 316 1133 319
rect 1075 310 1133 316
rect 1939 316 1951 319
rect 1985 316 1997 350
rect 1939 310 1997 316
rect 0 17 3360 49
rect 0 -17 31 17
rect 65 -17 127 17
rect 161 -17 223 17
rect 257 -17 319 17
rect 353 -17 415 17
rect 449 -17 511 17
rect 545 -17 607 17
rect 641 -17 703 17
rect 737 -17 799 17
rect 833 -17 895 17
rect 929 -17 991 17
rect 1025 -17 1087 17
rect 1121 -17 1183 17
rect 1217 -17 1279 17
rect 1313 -17 1375 17
rect 1409 -17 1471 17
rect 1505 -17 1567 17
rect 1601 -17 1663 17
rect 1697 -17 1759 17
rect 1793 -17 1855 17
rect 1889 -17 1951 17
rect 1985 -17 2047 17
rect 2081 -17 2143 17
rect 2177 -17 2239 17
rect 2273 -17 2335 17
rect 2369 -17 2431 17
rect 2465 -17 2527 17
rect 2561 -17 2623 17
rect 2657 -17 2719 17
rect 2753 -17 2815 17
rect 2849 -17 2911 17
rect 2945 -17 3007 17
rect 3041 -17 3103 17
rect 3137 -17 3199 17
rect 3233 -17 3295 17
rect 3329 -17 3360 17
rect 0 -49 3360 -17
<< labels >>
rlabel comment s 0 0 0 0 4 sdfbbn_1
flabel pwell s 0 0 3360 49 0 FreeSans 200 0 0 0 VNB
port 8 nsew ground bidirectional
flabel nwell s 0 617 3360 666 0 FreeSans 200 0 0 0 VPB
port 9 nsew power bidirectional
flabel metal1 s 2335 390 2369 424 0 FreeSans 340 0 0 0 SET_B
port 6 nsew signal input
flabel metal1 s 0 617 3360 666 0 FreeSans 340 0 0 0 VPWR
port 10 nsew power bidirectional
flabel metal1 s 0 0 3360 49 0 FreeSans 340 0 0 0 VGND
port 7 nsew ground bidirectional
flabel locali s 319 316 353 350 0 FreeSans 340 0 0 0 D
port 2 nsew signal input
flabel locali s 223 316 257 350 0 FreeSans 340 0 0 0 SCE
port 5 nsew signal input
flabel locali s 31 316 65 350 0 FreeSans 340 0 0 0 SCD
port 4 nsew signal input
flabel locali s 3007 390 3041 424 0 FreeSans 340 0 0 0 Q_N
port 12 nsew signal output
flabel locali s 3007 464 3041 498 0 FreeSans 340 0 0 0 Q_N
port 12 nsew signal output
flabel locali s 3007 538 3041 572 0 FreeSans 340 0 0 0 Q_N
port 12 nsew signal output
flabel locali s 703 316 737 350 0 FreeSans 340 0 0 0 CLK_N
port 1 nsew clock input
flabel locali s 2815 242 2849 276 0 FreeSans 340 0 0 0 RESET_B
port 3 nsew signal input
flabel locali s 3295 390 3329 424 0 FreeSans 340 0 0 0 Q
port 11 nsew signal output
flabel locali s 3295 464 3329 498 0 FreeSans 340 0 0 0 Q
port 11 nsew signal output
flabel locali s 3295 538 3329 572 0 FreeSans 340 0 0 0 Q
port 11 nsew signal output
<< properties >>
string LEFsite unit
string LEFclass CORE
string FIXED_BBOX 0 0 3360 666
string GDS_FILE $PDKPATH/libs.ref/sky130_fd_sc_hs/gds/sky130_fd_sc_hs.gds
string LEFsymmetry X Y
string GDS_END 1898824
string GDS_START 1874378
<< end >>
